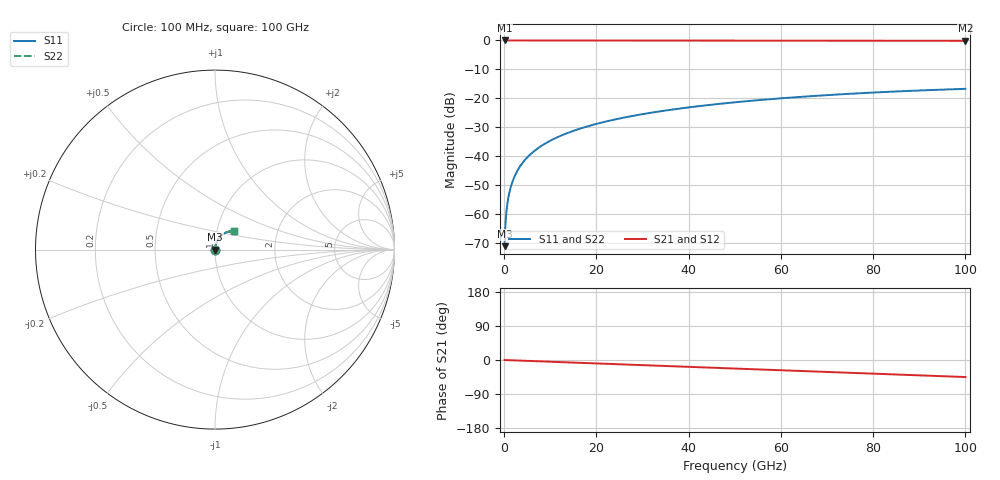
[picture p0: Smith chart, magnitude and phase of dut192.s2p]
! Touchstone file exported from HFSS 2026.1.0
!  File:  C:/ffzhzh/LocalFiles/Ansys_Project_Files/temp_train_TSV_192_1783507300_31944.aedt
!  Generated:  06:43:04 PM Jul  8, 2026
!  Design:  TSV
!  Project:  temp_train_TSV_192_1783507300_31944
! Variables:
!  h_bsmrdl = 2um
!  h_ox = 20um
!  h_rdl = 5um
!  h_sub = 87.92um
!  h_tmrdl = 5um
!  h_tsv = 87.92um
!  h_via = 3um
!  l_bsmrdl = 300um
!  l_sub = 417.88um
!  l_tmrdl = 200um
!  m_sub = 200um
!  pitch = 48.17um
!  r_tsv = 8.94um
!  s_tmrdl = 10um
!  w_bsmrdl = 18um
!  w_sub = 500um
!  w_tmrdl = 12um
!  x_tsv_center1 = 206um
!  x_tsv_center2 = 524um
!  x_tsv_center3 = 736um
!  x_tsv_center4 = 1054um
!  x_tsv_center5 = 1266um
!  x_tsv_center6 = 1584um
# GHz S MA R 50.000000
! Terminal data exported
! Port[1] = TSV1_1_T1
! Port[2] = TSV1_1_T2
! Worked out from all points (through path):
!   1000 points, 100 MHz to 100 GHz, reference 50 ohm
!   highest |S21| = 0.00 dB at 100 MHz (marker M1); lowest = -0.1 dB at 100 GHz (marker M2)
!   group delay of S21, straight-line fit = 1.25 ps
!   lowest |S11| = -71.1 dB at 100 MHz (marker M3), VSWR 1.00, Z = 50 + j0.0226 ohm
!   |S11| at or under -10 dB: start of sweep to end of sweep
!   |S22| runs from -71.1 to -16.7 dB; largest |S21 - S12| = 4.4e-15
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0.1  0.0002776 54.6  0.9998 -0.0  0.9998 -0.0  0.0002776 54.6
! Gamma 0 0 0 0
! Port Impedance 50 0 50 0
0.3  0.0006935 73.8  0.9998 -0.1  0.9998 -0.1  0.0006935 73.8
0.7  0.001507 79.1  0.9997 -0.3  0.9997 -0.3  0.001507 79.1
0.8  0.001703 79.7  0.9997 -0.4  0.9997 -0.4  0.001703 79.7
1  0.00209 80.5  0.9997 -0.5  0.9997 -0.5  0.00209 80.5
1.3  0.002663 81.4  0.9996 -0.6  0.9996 -0.6  0.002663 81.4
1.7  0.00342 82.1  0.9996 -0.8  0.9996 -0.8  0.00342 82.1
2.3  0.004544 82.7  0.9995 -1.1  0.9995 -1.1  0.004544 82.7
3  0.005839 83.0  0.9994 -1.4  0.9994 -1.4  0.005839 83.0
3.8  0.007305 83.2  0.9993 -1.8  0.9993 -1.8  0.007305 83.2
4.8  0.009124 83.3  0.9992 -2.2  0.9992 -2.2  0.009124 83.3
6  0.0113 83.2  0.9991 -2.8  0.9991 -2.8  0.0113 83.2
8.8  0.01633 82.6  0.9989 -4.0  0.9989 -4.0  0.01633 82.6
12.4  0.02275 81.4  0.9986 -5.7  0.9986 -5.7  0.02275 81.4
16.8  0.03049 79.8  0.9982 -7.6  0.9982 -7.6  0.03049 79.8
24.2  0.04333 76.9  0.9974 -11.0  0.9974 -11.0  0.04333 76.9
33.4  0.05885 73.0  0.9963 -15.1  0.9963 -15.1  0.05885 73.0
41.2  0.07155 69.7  0.9953 -18.7  0.9953 -18.7  0.07155 69.7
50.1  0.0854 65.8  0.994 -22.7  0.994 -22.7  0.08541 65.8
66.7  0.1091 58.6  0.9914 -30.1  0.9914 -30.1  0.1091 58.6
83.4  0.1295 51.3  0.9886 -37.6  0.9886 -37.6  0.1295 51.3
100  0.1457 44.0  0.986 -45.0  0.986 -45.0  0.1457 44.0
